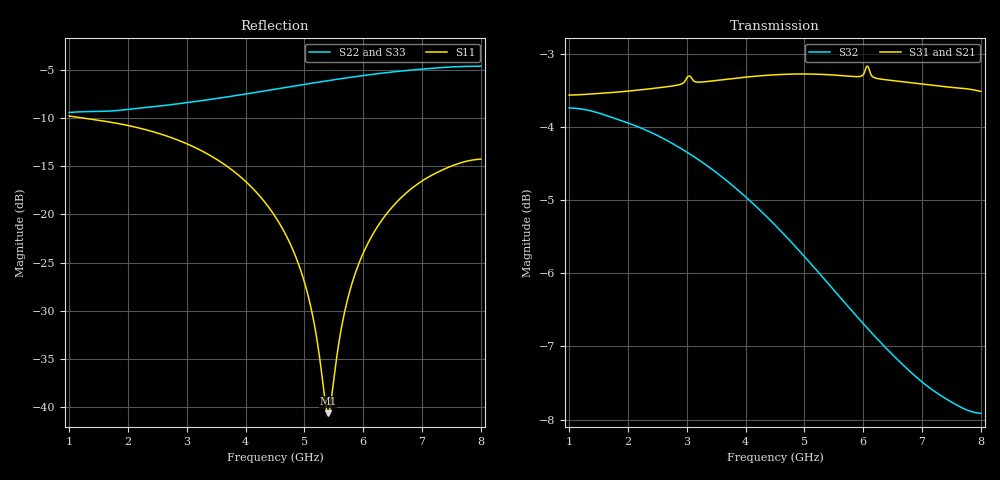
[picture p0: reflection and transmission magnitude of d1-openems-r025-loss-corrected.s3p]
! Order 0 openEMS d1 (r025), 43 um PEC copper, nominal FR408HR; loss-corrected (ratio (port line)) against openEMS's own 0.40 mm line
! 50 ohm, e^(+jwt)
# GHz S RI R 50
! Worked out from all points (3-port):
!   701 points, 1 GHz to 8 GHz, reference 50 ohm
!   strongest paths, dB at 1 GHz, 2.75 GHz, 4.5 GHz, 6.25 GHz, 8 GHz:
!     S31: -3.6, -3.4, -3.3, -3.3, -3.5
!     S21: -3.6, -3.4, -3.3, -3.3, -3.5
!     S32: -3.7, -4.2, -5.3, -6.9, -7.9
!   lowest |S11| = -40.6 dB at 5.4 GHz (marker M1), VSWR 1.02, Z = 49.1 + j0.225 ohm
!   |S11| at or under -10 dB: 1.217 GHz to end of sweep
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1  -0.3116 0.0855  0.5932 -0.2982  0.5928 -0.2975
   0.5937 -0.2963  -0.2913 0.1699  0.5368 -0.3665
   0.5935 -0.296  0.5368 -0.3665  -0.2925 0.1703
2.64  -0.1897 0.1716  0.2255 -0.6323  0.2254 -0.6323
      0.2258 -0.6326  -0.0315 0.3659  -0.00441 -0.6182
      0.2257 -0.6326  -0.00441 -0.6182  -0.0314 0.3659
3.73  -0.0811 0.1532  -0.1214 -0.6694  -0.1212 -0.6696
      -0.1215 -0.6692  0.2202 0.3434  -0.3469 -0.4615
      -0.1214 -0.6693  -0.3469 -0.4615  0.2198 0.3433
4.5  -0.0233 0.0949  -0.3612 -0.5818  -0.3612 -0.5824
     -0.3613 -0.581  0.382 0.228  -0.4771 -0.2542
     -0.3613 -0.5816  -0.4771 -0.2542  0.3812 0.2279
5.03  -0.00664 0.0409  -0.5001 -0.4691  -0.5004 -0.4695
      -0.5 -0.4682  0.4608 0.1064  -0.5026 -0.102
      -0.5003 -0.4687  -0.5026 -0.102  0.46 0.1064
5.4  -0.00903 0.00229  -0.5765 -0.3696  -0.5769 -0.3698
     -0.5764 -0.3691  0.4928 0.00732  -0.4933 -0.00253
     -0.5767 -0.3693  -0.4933 -0.00253  0.4922 0.00732
5.75  -0.0216 -0.0311  -0.6302 -0.264  -0.6305 -0.264
      -0.63 -0.2636  0.5028 -0.0923  -0.4681 0.0821
      -0.6303 -0.2636  -0.4681 0.0821  0.5024 -0.0923
6.2  -0.0504 -0.0651  -0.671 -0.1183  -0.6712 -0.1183
     -0.6708 -0.1179  0.4856 -0.2207  -0.4189 0.1741
     -0.6711 -0.1178  -0.4189 0.1741  0.4853 -0.2207
6.96  -0.1181 -0.0862  -0.6621 0.1315  -0.6622 0.1316
      -0.662 0.1315  0.3849 -0.4126  -0.3113 0.2873
      -0.6621 0.1317  -0.3113 0.2873  0.3847 -0.4126
8  -0.1905 -0.0328  -0.5163 0.4265  -0.5169 0.4249
   -0.5114 0.429  0.1556 -0.5647  -0.1509 0.3726
   -0.5121 0.4274  -0.1509 0.3726  0.1586 -0.5646
